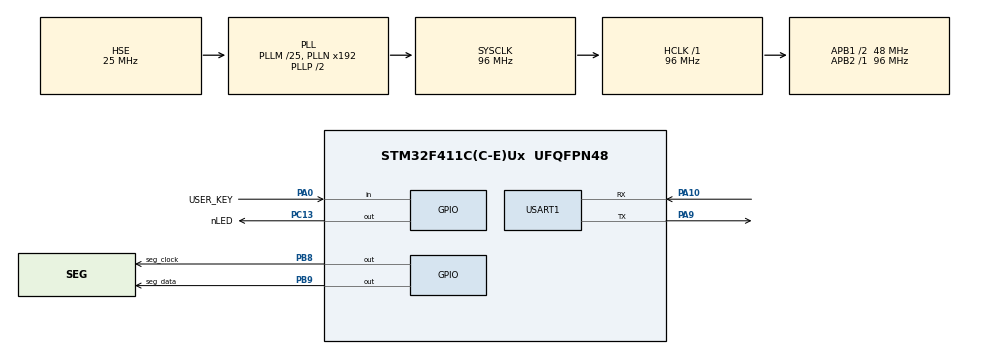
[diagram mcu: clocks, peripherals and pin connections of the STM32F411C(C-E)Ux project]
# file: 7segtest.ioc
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Mcu.Family=STM32F4
Mcu.Name=STM32F411C(C-E)Ux
Mcu.Package=UFQFPN48
NVIC.PriorityGroup=NVIC_PRIORITYGROUP_4
PA0-WKUP.GPIO_Label=USER_KEY
PA0-WKUP.Signal=GPIO_Input
PA10.Mode=Asynchronous
PA10.Signal=USART1_RX
PA13.Mode=Trace_Asynchronous_SW
PA13.Signal=SYS_JTMS-SWDIO
PA14.Mode=Trace_Asynchronous_SW
PA14.Signal=SYS_JTCK-SWCLK
PA9.Mode=Asynchronous
PA9.Signal=USART1_TX
PB3.Mode=Trace_Asynchronous_SW
PB3.Signal=SYS_JTDO-SWO
PB8.GPIO_Label=seg_clock
PB8.GPIO_ModeDefaultOutputPP=GPIO_MODE_OUTPUT_OD
PB8.GPIO_PuPd=GPIO_NOPULL
PB8.GPIO_Speed=GPIO_SPEED_FREQ_VERY_HIGH
PB8.Signal=GPIO_Output
PB9.GPIO_Label=seg_data
PB9.GPIO_ModeDefaultOutputPP=GPIO_MODE_OUTPUT_OD
PB9.GPIO_PuPd=GPIO_NOPULL
PB9.GPIO_Speed=GPIO_SPEED_FREQ_VERY_HIGH
PB9.Signal=GPIO_Output
PC13-ANTI_TAMP.GPIO_Label=nLED
PC13-ANTI_TAMP.Signal=GPIO_Output
PH0\ -\ OSC_IN.Mode=HSE-External-Oscillator
PH0\ -\ OSC_IN.Signal=RCC_OSC_IN
PH1\ -\ OSC_OUT.Mode=HSE-External-Oscillator
PH1\ -\ OSC_OUT.Signal=RCC_OSC_OUT
ProjectManager.HeapSize=0x200
ProjectManager.StackSize=0x400
ProjectManager.TargetToolchain=STM32CubeIDE
RCC.48MHZClocksFreq_Value=48000000
RCC.AHBFreq_Value=96000000
RCC.APB1CLKDivider=RCC_HCLK_DIV2
RCC.APB1Freq_Value=48000000
RCC.APB1TimFreq_Value=96000000
RCC.APB2Freq_Value=96000000
RCC.APB2TimFreq_Value=96000000
RCC.CortexFreq_Value=96000000
RCC.HCLKFreq_Value=96000000
RCC.HSE_VALUE=25000000
RCC.HSI_VALUE=16000000
RCC.LSE_VALUE=32768
RCC.PLLM=25
RCC.PLLSourceVirtual=RCC_PLLSOURCE_HSE
RCC.SYSCLKFreq_VALUE=96000000
RCC.SYSCLKSource=RCC_SYSCLKSOURCE_PLLCLK
RCC.VCOOutputFreq_Value=192000000
USART1.VirtualMode=VM_ASYNC
VP_TIM11_VS_ClockSourceINT.Mode=Enable_Timer
board=custom

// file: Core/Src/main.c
/* USER CODE BEGIN Header */
/**
  ******************************************************************************
  * @file           : main.c
  * @brief          : Main program body
  ******************************************************************************
  * @attention
  *
  * Copyright (c) 2023 STMicroelectronics.
  * All rights reserved.
  *
  * This software is licensed under terms that can be found in the LICENSE file
  * in the root directory of this software component.
  * If no LICENSE file comes with this software, it is provided AS-IS.
  *
  ******************************************************************************
  */
/* USER CODE END Header */
#include "main.h"

/* USER CODE BEGIN Includes */
#include "tm1637.h"
#include <stdio.h>

/* USER CODE END Includes */

TIM_HandleTypeDef htim11;

UART_HandleTypeDef huart1;

void SystemClock_Config(void);
static void MX_GPIO_Init(void);
static void MX_USART1_UART_Init(void);
static void MX_TIM11_Init(void);
/* USER CODE BEGIN PFP */

int __io_putchar(int ch) {
	uint8_t c= ch;
	HAL_UART_Transmit(&huart1, &c, 1, 100);
	return 1;
}

void Delay_us(uint32_t d){
	//using timer 11
	htim11.Instance->CNT = 0;
	while(htim11.Instance->CNT<d*96);

}

/* USER CODE END PFP */

/* USER CODE BEGIN 0 */
uint8_t Segments[7] = {0};

void updateSegments(){
static int i=0x123456;
static int tog = 0;
	i++;
	//210 543
	Segments[3] = digitToSegment[i&0xf];
	Segments[4] = digitToSegment[(i>>4)&0xf];
	Segments[5] = digitToSegment[(i>>8)&0xf];
	Segments[0] = digitToSegment[(i>>12)&0xf];
	Segments[1] = digitToSegment[(i>>16)&0xf];
	Segments[2] = digitToSegment[(i>>20)&0xf];

	if((i&0xf)==0xf) tog^=1;
	if(tog) Segments[2] |= 0x80;
	if(tog) Segments[1] |= 0x80;
}

/* USER CODE END 0 */

int main(void)
{

  /* MCU Configuration--------------------------------------------------------*/

  /* Reset of all peripherals, Initializes the Flash interface and the Systick. */
  HAL_Init();

  /* Configure the system clock */
  SystemClock_Config();

  /* Initialize all configured peripherals */
  MX_GPIO_Init();
  MX_USART1_UART_Init();
  MX_TIM11_Init();
  /* USER CODE BEGIN 2 */
  printf("Hello 100ms RAM\n");
  HAL_TIM_Base_Start(&htim11);
  tm1637_init();

  /* USER CODE END 2 */

  /* Infinite loop */
  while (1)
  {

    /* USER CODE BEGIN 3 */
//	  printf(".\n");
	  HAL_GPIO_TogglePin(nLED_GPIO_Port,nLED_Pin);
	  HAL_Delay(10);
	  //Delay_us(10);
	  //tm1637_init();
	  updateSegments();
	  setSegments(Segments,6,0);
  }
  /* USER CODE END 3 */
}

void SystemClock_Config(void)
{
  RCC_OscInitTypeDef RCC_OscInitStruct = {0};
  RCC_ClkInitTypeDef RCC_ClkInitStruct = {0};

  /** Configure the main internal regulator output voltage
  */
  __HAL_RCC_PWR_CLK_ENABLE();
  __HAL_PWR_VOLTAGESCALING_CONFIG(PWR_REGULATOR_VOLTAGE_SCALE1);

  /** Initializes the RCC Oscillators according to the specified parameters
  * in the RCC_OscInitTypeDef structure.
  */
  RCC_OscInitStruct.OscillatorType = RCC_OSCILLATORTYPE_HSE;
  RCC_OscInitStruct.HSEState = RCC_HSE_ON;
  RCC_OscInitStruct.PLL.PLLState = RCC_PLL_ON;
  RCC_OscInitStruct.PLL.PLLSource = RCC_PLLSOURCE_HSE;
  RCC_OscInitStruct.PLL.PLLM = 25;
  RCC_OscInitStruct.PLL.PLLN = 192;
  RCC_OscInitStruct.PLL.PLLP = RCC_PLLP_DIV2;
  RCC_OscInitStruct.PLL.PLLQ = 4;
  if (HAL_RCC_OscConfig(&RCC_OscInitStruct) != HAL_OK)
  {
    Error_Handler();
  }

  /** Initializes the CPU, AHB and APB buses clocks
  */
  RCC_ClkInitStruct.ClockType = RCC_CLOCKTYPE_HCLK|RCC_CLOCKTYPE_SYSCLK
                              |RCC_CLOCKTYPE_PCLK1|RCC_CLOCKTYPE_PCLK2;
  RCC_ClkInitStruct.SYSCLKSource = RCC_SYSCLKSOURCE_PLLCLK;
  RCC_ClkInitStruct.AHBCLKDivider = RCC_SYSCLK_DIV1;
  RCC_ClkInitStruct.APB1CLKDivider = RCC_HCLK_DIV2;
  RCC_ClkInitStruct.APB2CLKDivider = RCC_HCLK_DIV1;

  if (HAL_RCC_ClockConfig(&RCC_ClkInitStruct, FLASH_LATENCY_3) != HAL_OK)
  {
    Error_Handler();
  }
}

static void MX_TIM11_Init(void)
{

  htim11.Instance = TIM11;
  htim11.Init.Prescaler = 0;
  htim11.Init.CounterMode = TIM_COUNTERMODE_UP;
  htim11.Init.Period = 65535;
  htim11.Init.ClockDivision = TIM_CLOCKDIVISION_DIV1;
  htim11.Init.AutoReloadPreload = TIM_AUTORELOAD_PRELOAD_DISABLE;
  if (HAL_TIM_Base_Init(&htim11) != HAL_OK)
  {
    Error_Handler();
  }

}

static void MX_USART1_UART_Init(void)
{

  huart1.Instance = USART1;
  huart1.Init.BaudRate = 115200;
  huart1.Init.WordLength = UART_WORDLENGTH_8B;
  huart1.Init.StopBits = UART_STOPBITS_1;
  huart1.Init.Parity = UART_PARITY_NONE;
  huart1.Init.Mode = UART_MODE_TX_RX;
  huart1.Init.HwFlowCtl = UART_HWCONTROL_NONE;
  huart1.Init.OverSampling = UART_OVERSAMPLING_16;
  if (HAL_UART_Init(&huart1) != HAL_OK)
  {
    Error_Handler();
  }

}

static void MX_GPIO_Init(void)
{
  GPIO_InitTypeDef GPIO_InitStruct = {0};

  /* GPIO Ports Clock Enable */
  __HAL_RCC_GPIOC_CLK_ENABLE();
  __HAL_RCC_GPIOH_CLK_ENABLE();
  __HAL_RCC_GPIOA_CLK_ENABLE();
  __HAL_RCC_GPIOB_CLK_ENABLE();

  /*Configure GPIO pin Output Level */
  HAL_GPIO_WritePin(nLED_GPIO_Port, nLED_Pin, GPIO_PIN_RESET);

  /*Configure GPIO pin Output Level */
  HAL_GPIO_WritePin(GPIOB, seg_clock_Pin|seg_data_Pin, GPIO_PIN_RESET);

  /*Configure GPIO pin : nLED_Pin */
  GPIO_InitStruct.Pin = nLED_Pin;
  GPIO_InitStruct.Mode = GPIO_MODE_OUTPUT_PP;
  GPIO_InitStruct.Pull = GPIO_NOPULL;
  GPIO_InitStruct.Speed = GPIO_SPEED_FREQ_LOW;
  HAL_GPIO_Init(nLED_GPIO_Port, &GPIO_InitStruct);

  /*Configure GPIO pin : USER_KEY_Pin */
  GPIO_InitStruct.Pin = USER_KEY_Pin;
  GPIO_InitStruct.Mode = GPIO_MODE_INPUT;
  GPIO_InitStruct.Pull = GPIO_NOPULL;
  HAL_GPIO_Init(USER_KEY_GPIO_Port, &GPIO_InitStruct);

  /*Configure GPIO pins : seg_clock_Pin seg_data_Pin */
  GPIO_InitStruct.Pin = seg_clock_Pin|seg_data_Pin;
  GPIO_InitStruct.Mode = GPIO_MODE_OUTPUT_OD;
  GPIO_InitStruct.Pull = GPIO_NOPULL;
  GPIO_InitStruct.Speed = GPIO_SPEED_FREQ_VERY_HIGH;
  HAL_GPIO_Init(GPIOB, &GPIO_InitStruct);

}

void Error_Handler(void)
{
  __disable_irq();
  while (1)
  {
  }
}
